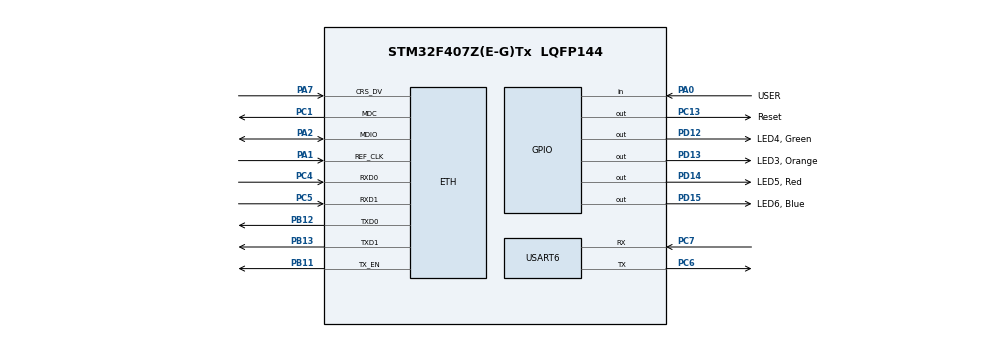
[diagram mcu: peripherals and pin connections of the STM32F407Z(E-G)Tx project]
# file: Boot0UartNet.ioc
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Mcu.Family=STM32F4
PD12.GPIO_Label=LED4, Green
PH0-OSC_IN.Signal=RCC_OSC_IN
RCC.CortexFreq_Value=168000000
PD15.GPIO_Label=LED6, Blue
PA7.Mode=RMII
ETH.PHY_User_Name=LAN8720_PHY_ADDRESS
PC13-ANTI_TAMP.GPIO_Label=Reset
PC4.Signal=ETH_RXD0
PC6.Signal=USART6_TX
ETH.MACAddr=00\:80\:E1\:01\:02\:03
PC5.Mode=RMII
RCC.APB1CLKDivider=RCC_HCLK_DIV4
PB11.Signal=ETH_TX_EN
PB13.Signal=ETH_TXD1
ETH.PhyAddress=0
PC13-ANTI_TAMP.PinState=GPIO_PIN_SET
RCC.SYSCLKSource=RCC_SYSCLKSOURCE_PLLCLK
ProjectManager.StackSize=0x800
PA0-WKUP.GPIO_Label=USER
PA0-WKUP.Signal=GPIO_Input
VP_LWIP_VS_Enabled.Mode=Enabled
LWIP.LWIP_DNS=1
PD13.Signal=GPIO_Output
ETH.PHY_Name_RMII=userPHY
PB11.Mode=RMII
ProjectManager.TargetToolchain=STM32CubeIDE
PC6.Mode=Asynchronous
RCC.HCLKFreq_Value=168000000
RCC.APB2TimFreq_Value=168000000
PC7.Signal=USART6_RX
RCC.LSE_VALUE=32768
PA1.Signal=ETH_REF_CLK
RCC.AHBFreq_Value=168000000
PH0-OSC_IN.Mode=HSE-External-Oscillator
RCC.HSE_VALUE=8000000
LWIP.LWIP_ICMP=0
board=custom
PC13-ANTI_TAMP.Signal=GPIO_Output
RCC.VCOOutputFreq_Value=336000000
ETH.PHY_SR=0x1F
RCC.APB2Freq_Value=84000000
PA1.Mode=RMII
PH1-OSC_OUT.Signal=RCC_OSC_OUT
PD14.GPIO_Label=LED5, Red
ETH.PHY_RESET_DELAY=0x00000FFF
Mcu.Name=STM32F407Z(E-G)Tx
PA2.Signal=ETH_MDIO
LWIP.LWIP_DBG_TYPES_ON=LWIP_DBG_OFF
PD14.Signal=GPIO_Output
PH1-OSC_OUT.Mode=HSE-External-Oscillator
RCC.48MHZClocksFreq_Value=48000000
RCC.SYSCLKFreq_VALUE=168000000
PD13.GPIO_Label=LED3, Orange
Mcu.Package=LQFP144
PB5.Signal=CAN2_RX
ETH.MediaInterface=ETH_MEDIA_INTERFACE_RMII
PB12.Mode=RMII
USART6.VirtualMode=VM_ASYNC
PD12.Signal=GPIO_Output
ProjectManager.HeapSize=0x200
LWIP.Version=v2.1.2_Cube
RCC.HSI_VALUE=16000000
RCC.PLLQ=7
NVIC.PriorityGroup=NVIC_PRIORITYGROUP_4
RCC.APB2CLKDivider=RCC_HCLK_DIV2
RCC.PLLM=8
RCC.PLLN=168
RCC.APB1TimFreq_Value=84000000
PA2.Mode=RMII
PC5.Signal=ETH_RXD1
PB13.Mode=RMII
PC7.Mode=Asynchronous
RCC.APB1Freq_Value=42000000
PD15.Signal=GPIO_Output
PC1.Signal=ETH_MDC
PB12.Signal=ETH_TXD0
PC4.Mode=RMII
PC1.Mode=RMII
PA7.Signal=ETH_CRS_DV

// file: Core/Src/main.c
/* USER CODE BEGIN Header */
/**
  ******************************************************************************
  * @file           : main.c
  * @brief          : Main program body
  ******************************************************************************
  * @attention
  *
  * <h2><center>&copy; Copyright (c) 2020 STMicroelectronics.
  * All rights reserved.</center></h2>
  *
  * This software component is licensed by ST under BSD 3-Clause license,
  * the "License"; You may not use this file except in compliance with the
  * License. You may obtain a copy of the License at:
  *                        opensource.org/licenses/BSD-3-Clause
  *
  ******************************************************************************
  */
/* USER CODE END Header */
#include "main.h"
#include "lwip.h"

/* USER CODE BEGIN Includes */
#include "app.h"
#include "types.h"
#include <stdio.h>
/* USER CODE END Includes */

/* USER CODE BEGIN PV */
extern const void* volatile _hal_vector_[];
extern void Rs232TransmitByte(blt_int8u data);
extern struct netif gnetif;
/* USER CODE END PV */

void SystemClock_Config(void);
static void MX_GPIO_Init(void);
static void MX_USART6_UART_Init(void);

/* USER CODE BEGIN 0 */

/**
 * @brief	Send a char to debug port
 */
int __io_putchar(int ch)
{
	//__void__int8u Rs232TransmitByte1 =  (volatile void*) 0x08004315UL;
  Rs232TransmitByte(ch);
  //ITM_SendChar(ch);
  return(ch);
}

/* USER CODE END 0 */

int main(void)
{

  /* MCU Configuration--------------------------------------------------------*/

  /* Reset of all peripherals, Initializes the Flash interface and the Systick. */
  HAL_Init();

  /* Configure the system clock */
  SystemClock_Config();

  /* Initialize all configured peripherals */
  MX_GPIO_Init();
  MX_USART6_UART_Init();
  MX_LWIP_Init();
  /* USER CODE BEGIN 2 */
  /* Initialize the bootloader application. */
  AppInit();
  /* USER CODE END 2 */

  /* Infinite loop */
  /* USER CODE BEGIN WHILE */
  printf("\n\n... Stage0 start ... \n");
  printf("... RS232 UART6,115200 ... \n");
  printf("... Mac ... %2.2X:%2.2X:%2.2X:%2.2X:%2.2X:%2.2X\n", gnetif.hwaddr[0], gnetif.hwaddr[1],
		  gnetif.hwaddr[2], gnetif.hwaddr[3], gnetif.hwaddr[4], gnetif.hwaddr[5]);

  blt_int32u ip = gnetif.ip_addr.addr;
  while (1)
  {
	if (!ip && gnetif.ip_addr.addr) {
	  ip = gnetif.ip_addr.addr;
	  // print out ip once
	  printf("... IP  ... %d.%d.%d.%d\n",
			  (u8_t)(ip >> 0),
			  (u8_t)(ip >> 8),
			  (u8_t)(ip >> 16),
			  (u8_t)(ip >> 24));
	}
	else if (ip) {
		/* Run the bootloader application. */
		AppTask();
	}
    MX_LWIP_Process();
    /* USER CODE END WHILE */

  }
}

void SystemClock_Config(void)
{
  LL_FLASH_SetLatency(LL_FLASH_LATENCY_5);
  while(LL_FLASH_GetLatency()!= LL_FLASH_LATENCY_5)
  {
  }
  LL_PWR_SetRegulVoltageScaling(LL_PWR_REGU_VOLTAGE_SCALE1);
  LL_RCC_HSI_SetCalibTrimming(16);
  LL_RCC_HSI_Enable();

   /* Wait till HSI is ready */
  while(LL_RCC_HSI_IsReady() != 1)
  {

  }
  LL_RCC_PLL_ConfigDomain_SYS(LL_RCC_PLLSOURCE_HSI, LL_RCC_PLLM_DIV_8, 168, LL_RCC_PLLP_DIV_2);
  LL_RCC_PLL_Enable();

   /* Wait till PLL is ready */
  while(LL_RCC_PLL_IsReady() != 1)
  {

  }
  LL_RCC_SetAHBPrescaler(LL_RCC_SYSCLK_DIV_1);
  LL_RCC_SetAPB1Prescaler(LL_RCC_APB1_DIV_4);
  LL_RCC_SetAPB2Prescaler(LL_RCC_APB2_DIV_2);
  LL_RCC_SetSysClkSource(LL_RCC_SYS_CLKSOURCE_PLL);

   /* Wait till System clock is ready */
  while(LL_RCC_GetSysClkSource() != LL_RCC_SYS_CLKSOURCE_STATUS_PLL)
  {

  }
  LL_SetSystemCoreClock(168000000);

   /* Update the time base */
  if (HAL_InitTick (TICK_INT_PRIORITY) != HAL_OK)
  {
    Error_Handler();
  }
}

static void MX_USART6_UART_Init(void)
{

  LL_USART_InitTypeDef USART_InitStruct = {0};

  LL_GPIO_InitTypeDef GPIO_InitStruct = {0};

  /* Peripheral clock enable */
  LL_APB2_GRP1_EnableClock(LL_APB2_GRP1_PERIPH_USART6);

  LL_AHB1_GRP1_EnableClock(LL_AHB1_GRP1_PERIPH_GPIOC);
  /**USART6 GPIO Configuration
  PC6   ------> USART6_TX
  PC7   ------> USART6_RX
  */
  GPIO_InitStruct.Pin = LL_GPIO_PIN_6|LL_GPIO_PIN_7;
  GPIO_InitStruct.Mode = LL_GPIO_MODE_ALTERNATE;
  GPIO_InitStruct.Speed = LL_GPIO_SPEED_FREQ_VERY_HIGH;
  GPIO_InitStruct.OutputType = LL_GPIO_OUTPUT_PUSHPULL;
  GPIO_InitStruct.Pull = LL_GPIO_PULL_NO;
  GPIO_InitStruct.Alternate = LL_GPIO_AF_8;
  LL_GPIO_Init(GPIOC, &GPIO_InitStruct);

  /* USER CODE BEGIN USART6_Init 1 */
  /* Note that the USART initialization that follows here is don't care. It is
   * reconfigured upon bootloader initialization with function Rs232Init().
   */
  /* USER CODE END USART6_Init 1 */
  USART_InitStruct.BaudRate = 115200;
  USART_InitStruct.DataWidth = LL_USART_DATAWIDTH_8B;
  USART_InitStruct.StopBits = LL_USART_STOPBITS_1;
  USART_InitStruct.Parity = LL_USART_PARITY_NONE;
  USART_InitStruct.TransferDirection = LL_USART_DIRECTION_TX_RX;
  USART_InitStruct.HardwareFlowControl = LL_USART_HWCONTROL_NONE;
  USART_InitStruct.OverSampling = LL_USART_OVERSAMPLING_16;
  LL_USART_Init(USART6, &USART_InitStruct);
  LL_USART_ConfigAsyncMode(USART6);
  LL_USART_Enable(USART6);

}

static void MX_GPIO_Init(void)
{
  LL_GPIO_InitTypeDef GPIO_InitStruct = {0};

  /* GPIO Ports Clock Enable */
  LL_AHB1_GRP1_EnableClock(LL_AHB1_GRP1_PERIPH_GPIOC);
  LL_AHB1_GRP1_EnableClock(LL_AHB1_GRP1_PERIPH_GPIOH);
  LL_AHB1_GRP1_EnableClock(LL_AHB1_GRP1_PERIPH_GPIOA);
  LL_AHB1_GRP1_EnableClock(LL_AHB1_GRP1_PERIPH_GPIOB);
  LL_AHB1_GRP1_EnableClock(LL_AHB1_GRP1_PERIPH_GPIOD);

  /**/
  LL_GPIO_SetOutputPin(Reset_GPIO_Port, Reset_Pin);

  /**/
  LL_GPIO_ResetOutputPin(GPIOD, LED4__Green_Pin|LED3__Orange_Pin|LED5__Red_Pin|LED6__Blue_Pin);

  /**/
  GPIO_InitStruct.Pin = Reset_Pin;
  GPIO_InitStruct.Mode = LL_GPIO_MODE_OUTPUT;
  GPIO_InitStruct.Speed = LL_GPIO_SPEED_FREQ_LOW;
  GPIO_InitStruct.OutputType = LL_GPIO_OUTPUT_PUSHPULL;
  GPIO_InitStruct.Pull = LL_GPIO_PULL_NO;
  LL_GPIO_Init(Reset_GPIO_Port, &GPIO_InitStruct);

  /**/
  GPIO_InitStruct.Pin = USER_Pin;
  GPIO_InitStruct.Mode = LL_GPIO_MODE_INPUT;
  GPIO_InitStruct.Pull = LL_GPIO_PULL_NO;
  LL_GPIO_Init(USER_GPIO_Port, &GPIO_InitStruct);

  /**/
  GPIO_InitStruct.Pin = LED4__Green_Pin|LED3__Orange_Pin|LED5__Red_Pin|LED6__Blue_Pin;
  GPIO_InitStruct.Mode = LL_GPIO_MODE_OUTPUT;
  GPIO_InitStruct.Speed = LL_GPIO_SPEED_FREQ_LOW;
  GPIO_InitStruct.OutputType = LL_GPIO_OUTPUT_PUSHPULL;
  GPIO_InitStruct.Pull = LL_GPIO_PULL_NO;
  LL_GPIO_Init(GPIOD, &GPIO_InitStruct);

  /**/
  GPIO_InitStruct.Pin = LL_GPIO_PIN_5;
  GPIO_InitStruct.Mode = LL_GPIO_MODE_ALTERNATE;
  GPIO_InitStruct.Speed = LL_GPIO_SPEED_FREQ_VERY_HIGH;
  GPIO_InitStruct.OutputType = LL_GPIO_OUTPUT_PUSHPULL;
  GPIO_InitStruct.Pull = LL_GPIO_PULL_NO;
  GPIO_InitStruct.Alternate = LL_GPIO_AF_9;
  LL_GPIO_Init(GPIOB, &GPIO_InitStruct);

}

void Error_Handler(void)
{
}

/************************ (C) COPYRIGHT STMicroelectronics *****END OF FILE****/
